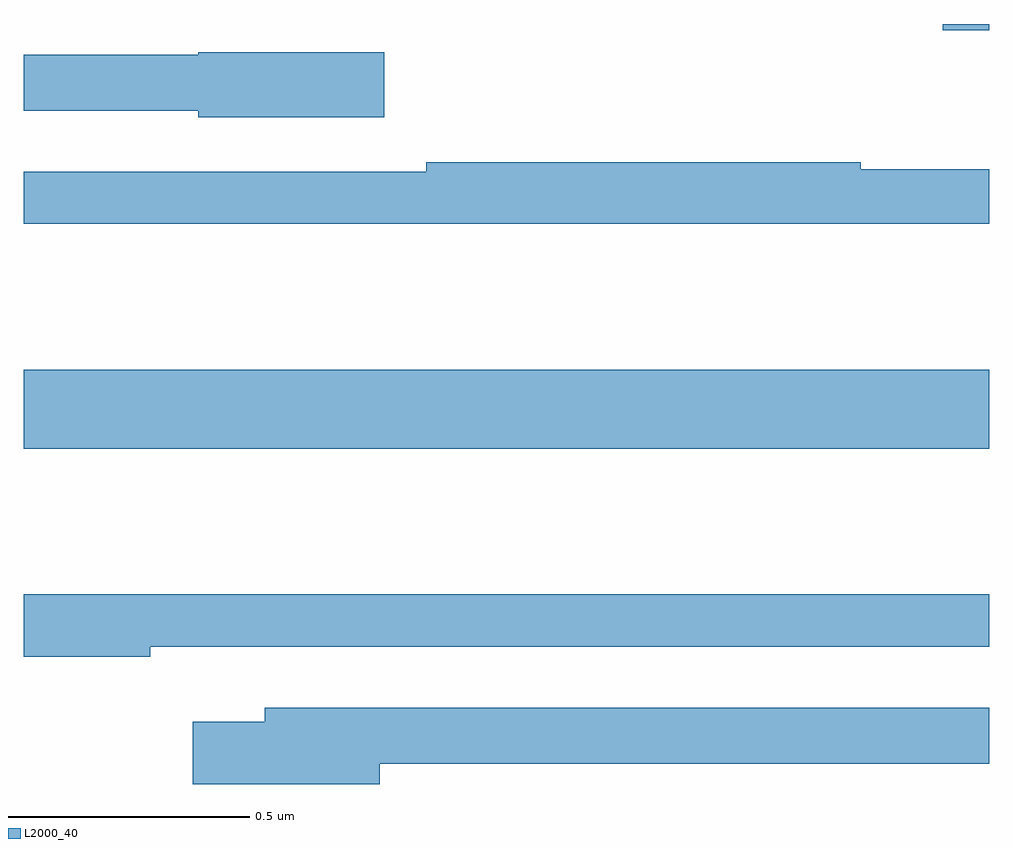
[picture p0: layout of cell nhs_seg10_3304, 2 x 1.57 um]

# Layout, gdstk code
import gdstk
lib = gdstk.Library(unit=1e-6, precision=1e-09)
def R(c, l, rs):  # rectangles x0, y0, x1, y1
    for r in rs: c.add(gdstk.rectangle(r[:2], r[2:], *l))
def P(c, l, *ps):  # polygons
    for p in ps: c.add(gdstk.Polygon(p, *l))
L2000_40 = (2000, 40)

nhs_seg10_3304 = lib.new_cell('nhs_seg10_3304')
R(nhs_seg10_3304, L2000_40, [(151,1329.62,153,1329.784), (152.904,1330.487,153,1330.5)])
P(nhs_seg10_3304, L2000_40, [(151.747,1330.442),(151.362,1330.442),(151.362,1330.436),(151,1330.436),(151,1330.32),(151.362,1330.32),(151.362,1330.307),(151.747,1330.307)],
  [(153,1330.199),(152.734,1330.199),(152.734,1330.214),(151.834,1330.214),(151.834,1330.194),(151,1330.194),(151,1330.086),(153,1330.086)],
  [(151.262,1329.21),(153,1329.21),(153,1329.319),(151,1329.319),(151,1329.19),(151.262,1329.19)],
  [(151.738,1328.968),(153,1328.968),(153,1329.084),(151.499,1329.084),(151.499,1329.055),(151.35,1329.055),(151.35,1328.926),(151.738,1328.926)])

lib.write_gds('nhs_seg10_3304.gds')
